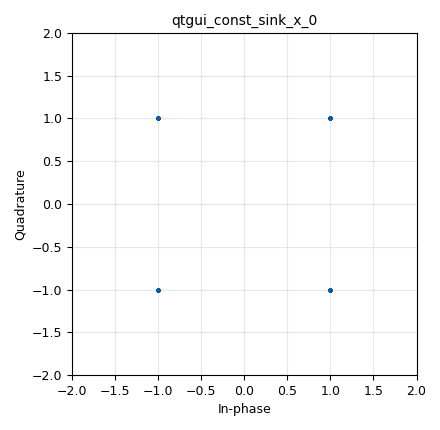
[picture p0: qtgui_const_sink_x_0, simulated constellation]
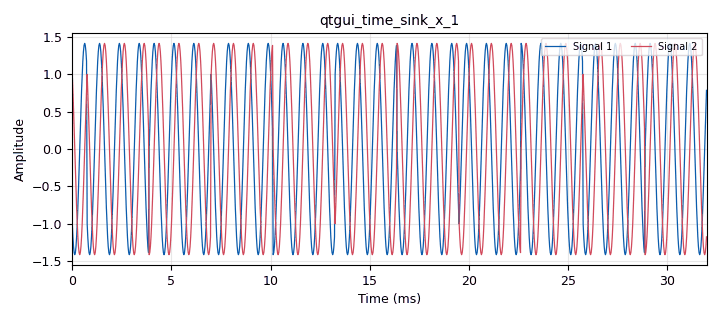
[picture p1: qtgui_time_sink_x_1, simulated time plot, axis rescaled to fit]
options:
  parameters:
    generate_options: qt_gui
    id: qpsk_flowgraph
    output_language: python
    title: QPSK Modulation
  states: {}

blocks:
- name: samp_rate
  id: variable
  parameters:
    value: '32000'
  states: {}
- name: analog_sig_source_x_0
  id: analog_sig_source_x
  parameters:
    amp: '1'
    freq: '1000'
    offset: '0'
    phase: '0'
    samp_rate: samp_rate
    type: complex
    waveform: analog.GR_COS_WAVE
  states: {}
- name: blocks_complex_to_float_0
  id: blocks_complex_to_float
  parameters: {}
  states: {}
- name: blocks_multiply_xx_0
  id: blocks_multiply_xx
  parameters:
    type: complex
  states: {}
- name: blocks_repeat_0
  id: blocks_repeat
  parameters:
    interp: '100'
    type: byte
  states: {}
- name: blocks_throttle2_0
  id: blocks_throttle2
  parameters:
    samples_per_second: '32000'
    type: complex
  states: {}
- name: blocks_vector_source_x_0
  id: blocks_vector_source_x
  parameters:
    repeat: 'True'
    type: byte
    vector: '[0, 1, 2, 3]'
  states: {}
- name: epy_block_0
  id: epy_block
  parameters:
    _source_code: |
      """
      Embedded Python Block - QPSK Modulator
      """

      import numpy as np
      from gnuradio import gr

      class blk(gr.sync_block):
          def __init__(self):
              gr.sync_block.__init__(
                  self,
                  name='QPSK Modulator',
                  in_sig=[np.uint8],
                  out_sig=[np.complex64]
              )

          def work(self, input_items, output_items):
              symbols = input_items[0]
              out = output_items[0]
              
              constellation = [
                  complex(1.0, 1.0),
                  complex(-1.0, 1.0),
                  complex(-1.0, -1.0),
                  complex(1.0, -1.0)
              ]
              
              for i in range(len(symbols)):
                  sym = symbols[i] % 4
                  out[i] = constellation[sym]
              
              return len(symbols)
  states: {}
- name: qtgui_const_sink_x_0
  id: qtgui_const_sink_x
  parameters:
    size: '1024'
    type: complex
  states: {}
- name: qtgui_time_sink_x_1
  id: qtgui_time_sink_x
  parameters:
    nconnections: '2'
    size: '1024'
    srate: samp_rate
    type: float
  states: {}

connections:
- [analog_sig_source_x_0, '0', blocks_multiply_xx_0, '1']
- [blocks_complex_to_float_0, '0', qtgui_time_sink_x_1, '0']
- [blocks_complex_to_float_0, '1', qtgui_time_sink_x_1, '1']
- [blocks_multiply_xx_0, '0', blocks_complex_to_float_0, '0']
- [blocks_repeat_0, '0', epy_block_0, '0']
- [blocks_throttle2_0, '0', blocks_multiply_xx_0, '0']
- [blocks_throttle2_0, '0', qtgui_const_sink_x_0, '0']
- [blocks_vector_source_x_0, '0', blocks_repeat_0, '0']
- [epy_block_0, '0', blocks_throttle2_0, '0']

metadata:
  file_format: 1
  grc_version: 3.10.12.0
